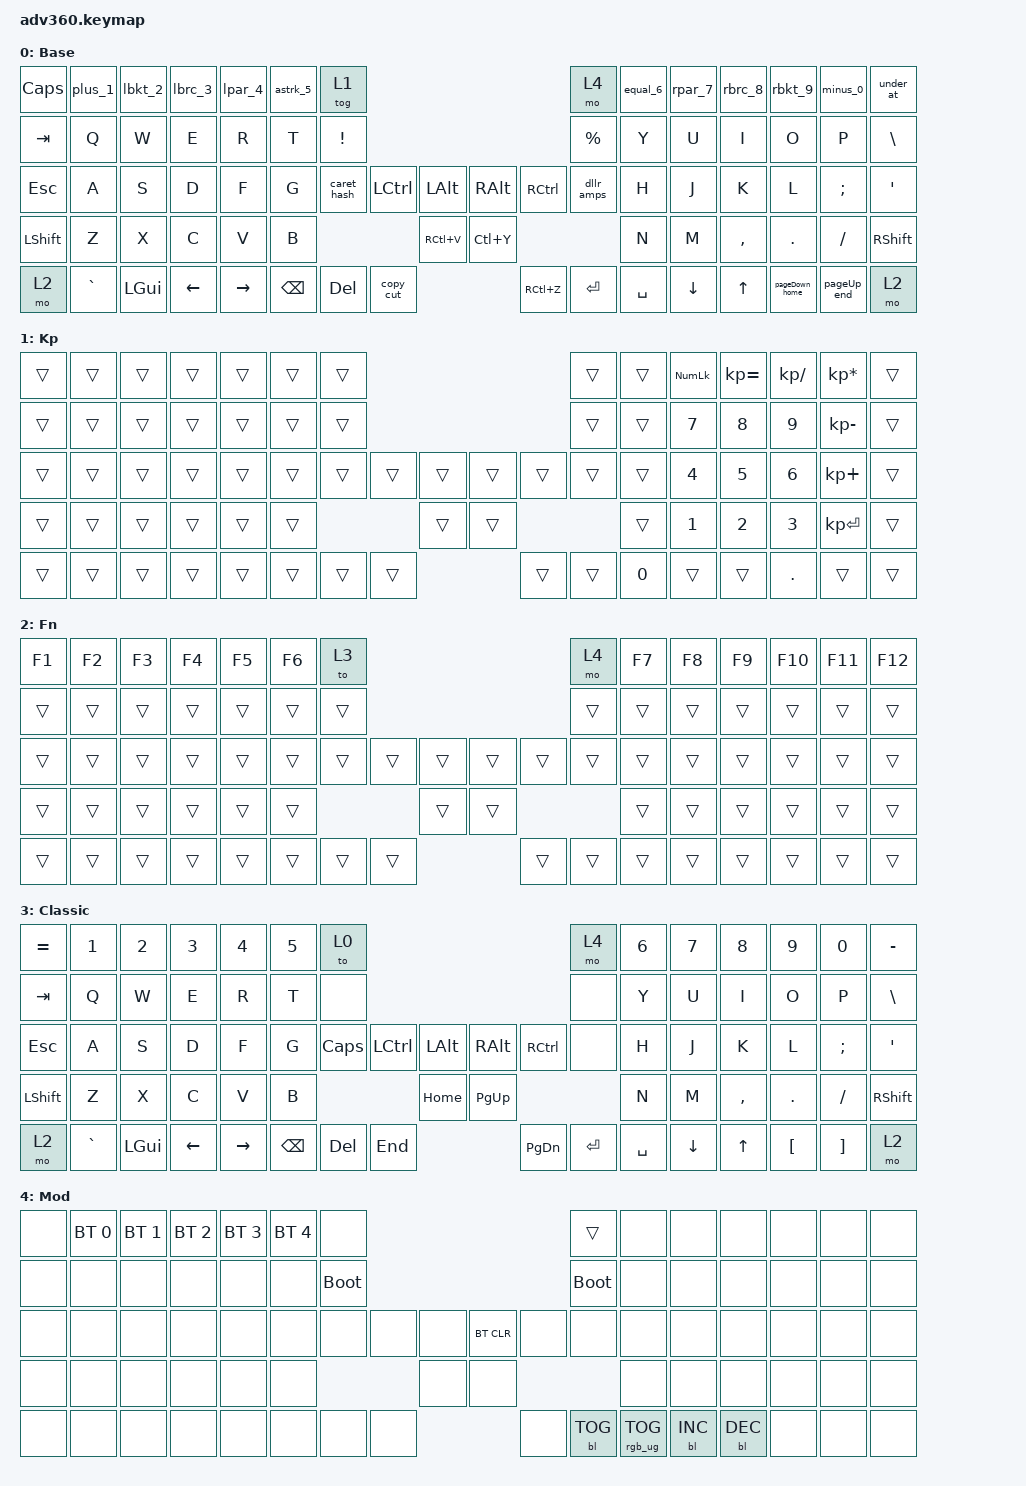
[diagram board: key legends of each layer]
#include <behaviors.dtsi>
#include <dt-bindings/zmk/keys.h>
#include <dt-bindings/zmk/bt.h>
#include <dt-bindings/zmk/rgb.h>
#include <dt-bindings/zmk/stp.h>
#include <dt-bindings/zmk/backlight.h>
#include <dt-bindings/zmk/pointing.h>

/ {
    behaviors {
		#include "macros.dtsi"
		#include "version.dtsi"

		hm: homerow_mods {
			compatible = "zmk,behavior-hold-tap";
			label = "HOMEROW_MODS";
			#binding-cells = <2>;
			tapping-term-ms = <200>;
			quick_tap_ms = <175>;
			flavor = "tap-preferred";
			bindings = <&kp>, <&kp>;
		};
		plus_1: plus_1 {
            compatible = "zmk,behavior-mod-morph";
            #binding-cells = <0>;
            bindings = <&kp PLUS>, <&kp N1>;
            mods = <(MOD_LSFT|MOD_RSFT)>;
        };
        lbkt_2: left_bracket_2 {
            compatible = "zmk,behavior-mod-morph";
            #binding-cells = <0>;
            bindings = <&kp LBKT>, <&kp N2>;
            mods = <(MOD_LSFT|MOD_RSFT)>;
        };
        lbrc_3: left_brace_3 {
            compatible = "zmk,behavior-mod-morph";
            #binding-cells = <0>;
            bindings = <&kp LBRC>, <&kp N3>;
            mods = <(MOD_LSFT|MOD_RSFT)>;
        };
        lpar_4: left_parenthesis_4 {
            compatible = "zmk,behavior-mod-morph";
            #binding-cells = <0>;
            bindings = <&kp LPAR>, <&kp N4>;
            mods = <(MOD_LSFT|MOD_RSFT)>;
        };
        astrk_5: asterisk_5 {
            compatible = "zmk,behavior-mod-morph";
            #binding-cells = <0>;
            bindings = <&kp ASTRK>, <&kp N5>;
            mods = <(MOD_LSFT|MOD_RSFT)>;
        };
        equal_6: equal_6 {
            compatible = "zmk,behavior-mod-morph";
            #binding-cells = <0>;
            bindings = <&kp EQUAL>, <&kp N6>;
            mods = <(MOD_LSFT|MOD_RSFT)>;
        };
        rpar_7: right_parenthesis_7 {
            compatible = "zmk,behavior-mod-morph";
            #binding-cells = <0>;
            bindings = <&kp RPAR>, <&kp N7>;
            mods = <(MOD_LSFT|MOD_RSFT)>;
        };
        rbrc_8: right_brace_8 {
            compatible = "zmk,behavior-mod-morph";
            #binding-cells = <0>;
            bindings = <&kp RBRC>, <&kp N8>;
            mods = <(MOD_LSFT|MOD_RSFT)>;
        };
        rbkt_9: right_bracket_9 {
            compatible = "zmk,behavior-mod-morph";
            #binding-cells = <0>;
            bindings = <&kp RBKT>, <&kp N9>;
            mods = <(MOD_LSFT|MOD_RSFT)>;
        };
        minus_0: minus_0 {
            compatible = "zmk,behavior-mod-morph";
            #binding-cells = <0>;
            bindings = <&kp MINUS>, <&kp N0>;
            mods = <(MOD_LSFT|MOD_RSFT)>;
        };
        under_at: underscore_at_sign {
            compatible = "zmk,behavior-mod-morph";
            #binding-cells = <0>;
            bindings = <&kp UNDER>, <&kp AT>;
            mods = <(MOD_LSFT|MOD_RSFT)>;
        };
        caret_hash: caret_hash {
            compatible = "zmk,behavior-mod-morph";
            #binding-cells = <0>;
            bindings = <&kp CARET>, <&kp HASH>;
            mods = <(MOD_LSFT|MOD_RSFT)>;
        };
        dllr_amps: dollar_ampersand {
            compatible = "zmk,behavior-mod-morph";
            #binding-cells = <0>;
            bindings = <&kp DLLR>, <&kp AMPS>;
            mods = <(MOD_LSFT|MOD_RSFT)>;
        };
        copy_cut: copy_cut {
            compatible = "zmk,behavior-mod-morph";
            #binding-cells = <0>;
            bindings = <&kp RC(C)>, <&kp RC(X)>;
            mods = <(MOD_LSFT|MOD_RSFT)>;
        };
        pageDown_home: pageDown_home {
            compatible = "zmk,behavior-mod-morph";
            #binding-cells = <0>;
            bindings = <&kp PAGE_DOWN>, <&kp HOME>;
            mods = <(MOD_LSFT|MOD_RSFT)>;
        };
        pageUp_end: pageUp_end {
            compatible = "zmk,behavior-mod-morph";
            #binding-cells = <0>;
            bindings = <&kp PAGE_UP>, <&kp END>;
            mods = <(MOD_LSFT|MOD_RSFT)>;
        };
    };

    keymap {
		compatible = "zmk,keymap";

		default_layer {
			display-name = "Base";
			bindings = <
				&kp CAPS  &plus_1   &lbkt_2  &lbrc_3  &lpar_4   &astrk_5 &tog 1                                                                &mo 4       &equal_6 &rpar_7  &rbrc_8   &rbkt_9        &minus_0    &under_at
				&kp TAB   &kp Q     &kp W    &kp E    &kp R     &kp T    &kp EXCL                                                              &kp PRCNT   &kp Y    &kp U    &kp I     &kp O          &kp P       &kp BSLH
				&kp ESC   &kp A     &kp S    &kp D    &kp F     &kp G    &caret_hash          &kp LCTRL &kp LALT  &kp RALT  &kp RCTRL          &dllr_amps  &kp H    &kp J    &kp K     &kp L          &kp SEMI    &kp SQT
				&kp LSHFT &kp Z     &kp X    &kp C    &kp V     &kp B                                   &kp RC(V) &kp LC(Y)                                &kp N    &kp M    &kp COMMA &kp DOT        &kp FSLH    &kp RSHFT
				&mo 2     &kp GRAVE &kp LGUI &kp LEFT &kp RIGHT                     &kp BSPC &kp DEL   &copy_cut &kp RC(Z) &kp ENTER &kp SPACE                      &kp DOWN &kp UP    &pageDown_home &pageUp_end &mo 2
			>;
		};
		keypad {
			display-name = "Kp";
			bindings = <
				&trans &trans &trans &trans &trans &trans  &trans                                              &trans &trans  &kp KP_NUM &kp KP_EQUAL &kp KP_DIVIDE &kp KP_MULTIPLY &trans
				&trans &trans &trans &trans &trans &trans  &trans                                              &trans &trans  &kp N7     &kp N8       &kp N9        &kp KP_MINUS    &trans
				&trans &trans &trans &trans &trans &trans  &trans        &trans &trans &trans &trans           &trans &trans  &kp N4     &kp N5       &kp N6        &kp KP_PLUS     &trans
				&trans &trans &trans &trans &trans &trans                       &trans &trans                         &trans  &kp N1     &kp N2       &kp N3        &kp KP_ENTER    &trans
				&trans &trans &trans &trans &trans                &trans &trans &trans &trans &trans &kp N0                   &trans     &trans       &kp DOT       &trans          &trans
			>;
		};
		fn {
			display-name = "Fn";
			bindings = <
				&kp F1 &kp F2 &kp F3 &kp F4 &kp F5 &kp F6  &to 3                                            &mo 4  &kp F7 &kp F8 &kp F9 &kp F10 &kp F11 &kp F12
				&trans &trans &trans &trans &trans &trans  &trans                                           &trans &trans &trans &trans &trans  &trans  &trans
				&trans &trans &trans &trans &trans &trans  &trans         &trans &trans &trans &trans       &trans &trans &trans &trans &trans  &trans  &trans
				&trans &trans &trans &trans &trans &trans                       &trans &trans                      &trans &trans &trans &trans  &trans  &trans
				&trans &trans &trans &trans &trans                &trans &trans &trans &trans &trans &trans               &trans &trans &trans  &trans  &trans
			>;
		};
		classic_layer {
			display-name = "Classic";
			bindings = <
				&kp EQUAL &kp N1    &kp N2   &kp N3   &kp N4   &kp N5 &to 0                                                           &mo 4 &kp N6 &kp N7    &kp N8    &kp N9   &kp N0   &kp MINUS
				&kp TAB   &kp Q     &kp W    &kp E    &kp R    &kp T  &none                                                           &none &kp Y  &kp U     &kp I     &kp O    &kp P    &kp BSLH
				&kp ESC   &kp A     &kp S    &kp D    &kp F    &kp G  &kp CAPS        &kp LCTRL &kp LALT &kp RALT  &kp RCTRL          &none &kp H  &kp J     &kp K     &kp L    &kp SEMI &kp SQT
				&kp LSHFT &kp Z     &kp X    &kp C    &kp V    &kp B                            &kp HOME &kp PG_UP                           &kp N  &kp M    &kp COMMA &kp DOT  &kp FSLH &kp RSHFT
				&mo 2     &kp GRAVE &kp LGUI &kp LEFT &kp RIGHT               &kp BSPC &kp DEL  &kp END  &kp PG_DN &kp ENTER &kp SPACE              &kp DOWN &kp UP    &kp LBKT &kp RBKT &mo 2
			>;
		};
		mod {
			display-name = "Mod";
			bindings = <
				&none &bt BT_SEL 0 &bt BT_SEL 1 &bt BT_SEL 2 &bt BT_SEL 3 &bt BT_SEL 4 &none                                                          &trans      &none &none      &none      &none &none &none
				&none &none        &none        &none        &none        &none        &bootloader                                                    &bootloader &none &none      &none      &none &none &none
				&none &none        &none        &none        &none        &none        &none             &none &none &bt BT_CLR &none                 &none       &none &none      &none      &none &none &none
				&none &none        &none        &none        &none        &none                                &none &none                                        &none &none      &none      &none &none &none
				&none &none        &none        &none        &none                                 &none &none &none &none &bl BL_TOG &rgb_ug RGB_TOG                   &bl BL_INC &bl BL_DEC &none &none &none
			>;
		};
		extra2 { 
			display-name = "Purple";
			status = "reserved";
		};
		extra3 { 
			display-name = "Cyan";
			status = "reserved";
		};
		extra4 { 
			display-name = "Yellow";
			status = "reserved";
		};
    };
};
